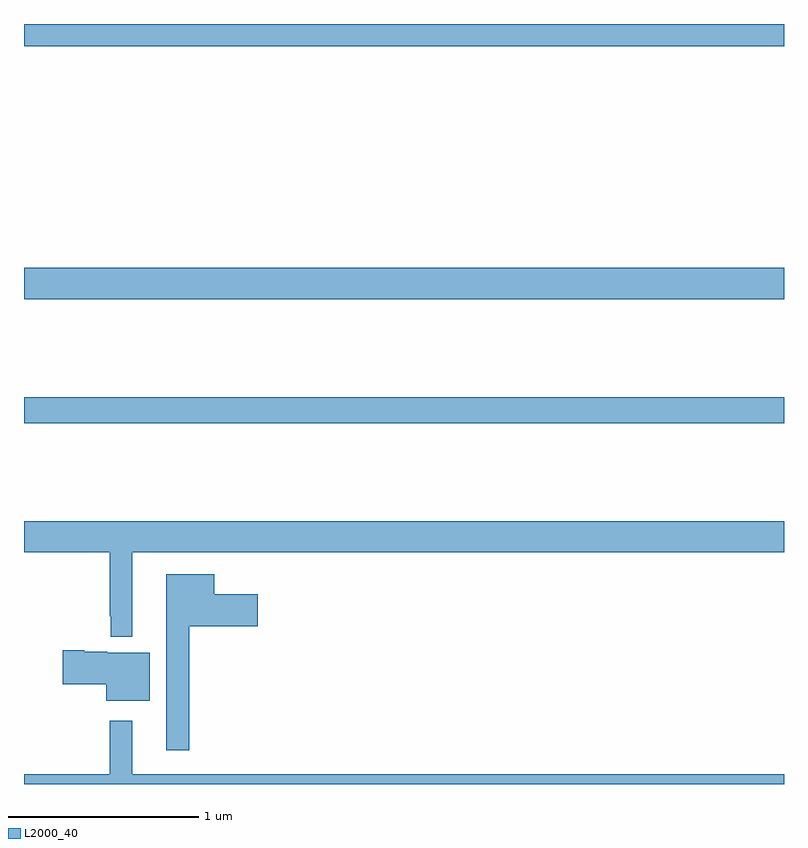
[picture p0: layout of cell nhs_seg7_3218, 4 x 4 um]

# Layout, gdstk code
import gdstk
lib = gdstk.Library(unit=1e-6, precision=1e-09)
def R(c, l, rs):  # rectangles x0, y0, x1, y1
    for r in rs: c.add(gdstk.rectangle(r[:2], r[2:], *l))
def P(c, l, *ps):  # polygons
    for p in ps: c.add(gdstk.Polygon(p, *l))
L2000_40 = (2000, 40)

nhs_seg7_3218 = lib.new_cell('nhs_seg7_3218')
R(nhs_seg7_3218, L2000_40, [(315,1063.9,319,1064.036), (315,1064.552,319,1064.716), (315,1065.884,319,1066)])
P(nhs_seg7_3218, L2000_40, [(315.571,1063.22),(319,1063.22),(319,1063.384),(315,1063.384),(315,1063.22),(315.45,1063.22),(315.45,1062.883),(315.457,1062.883),(315.457,1062.776),(315.571,1062.776)],
  [(315.871,1062.83),(316.231,1062.83),(316.231,1063),(316,1063),(316,1063.105),(315.749,1063.105),(315.749,1062.177),(315.871,1062.177)],
  [(315.661,1062.691),(315.438,1062.691),(315.438,1062.697),(315.316,1062.697),(315.316,1062.704),(315.204,1062.704),(315.204,1062.526),(315.434,1062.526),(315.434,1062.437),(315.661,1062.437)],
  [(319,1062.052),(315.571,1062.052),(315.571,1062.334),(315.45,1062.334),(315.45,1062.052),(315,1062.052),(315,1062),(319,1062)])

lib.write_gds('nhs_seg7_3218.gds')
